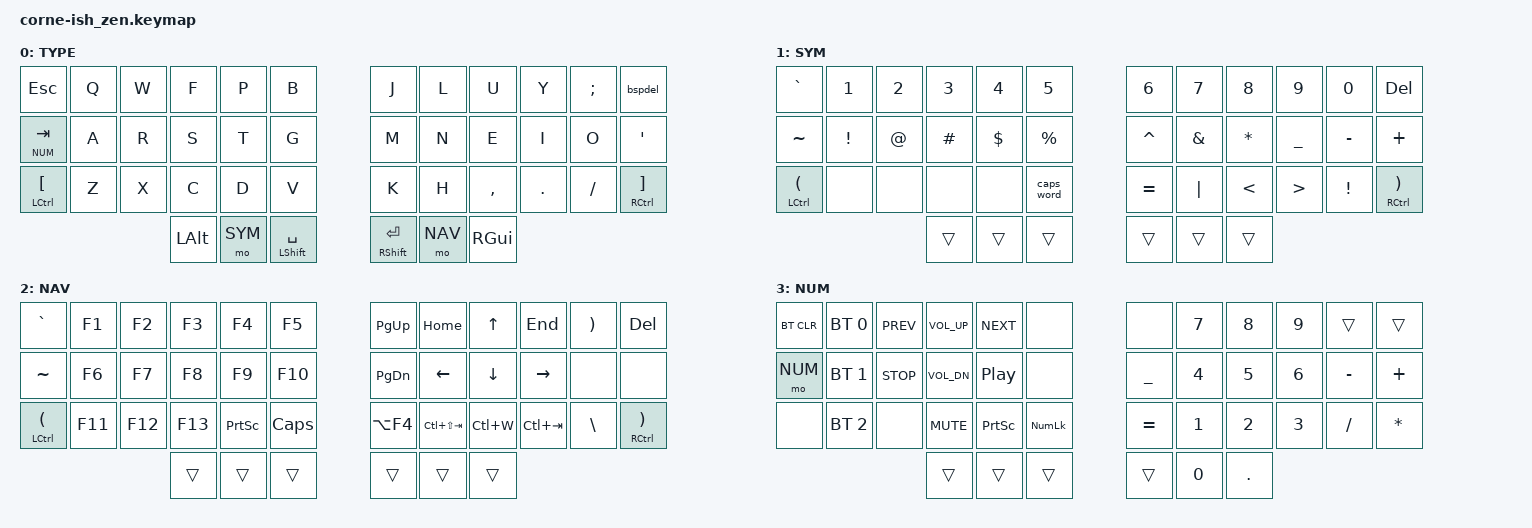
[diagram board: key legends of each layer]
/*
*
* Copyright (c) 2021 Darryl deHaan
* SPDX-License-Identifier: MIT
*
*/

#include <behaviors.dtsi>
#include <dt-bindings/zmk/keys.h>
#include <dt-bindings/zmk/bt.h>

#define TYPE   0
#define SYM    1
#define NAV    2
#define NUM    3

#define CONFIG_ZMK_MACRO_DEFAULT_WAIT_MS 10
#define CONFIG_ZMK_MACRO_DEFAULT_TAP_MS 10

&mt {
    tapping-term-ms = <160>;
    quick-tap-ms = <220>;
};

/ {
        behaviors {
          bspdel: backspace_del {
              compatible = "zmk,behavior-mod-morph";
              label = "BACKSPACE_DEL";
              #binding-cells = <0>;
              bindings = <&kp BACKSPACE>, <&kp DEL>;
              mods = <(MOD_LSFT|MOD_RSFT)>;
          };

          shspc: shift_space {
              compatible = "zmk,behavior-hold-tap";
              label = "SHIFT_SPACE";
              #binding-cells = <2>;
              tapping-term-ms = <140>;
              quick-tap-ms = <200>;
              flavor = "tap-preferred";
              bindings = <&kp>, <&kp>;
          };

          shent: shift_enter {
              compatible = "zmk,behavior-hold-tap";
              label = "SHIFT_ENTER";
              #binding-cells = <2>;
              tapping-term-ms = <120>;
              quick-tap-ms = <200>;
              flavor = "balanced";
              bindings = <&kp>, <&kp>;
          };
        };

        keymap {
                compatible = "zmk,keymap";

                default_layer {
                        label = "TYPE";
                        bindings = <
   &kp ESC        &kp Q &kp W &kp F &kp P &kp B   &kp J &kp L  &kp U     &kp Y   &kp SEMI &bspdel
   &lt NUM TAB    &kp A &kp R &kp S &kp T &kp G   &kp M &kp N  &kp E     &kp I   &kp O    &kp SQT
   &mt LCTRL LBKT &kp Z &kp X &kp C &kp D &kp V   &kp K &kp H  &kp COMMA &kp DOT &kp FSLH &mt RCTRL RBKT
                &kp LALT &mo SYM &shspc LSHIFT SPACE   &shent RSHIFT RET &mo NAV &kp RGUI
                        >;
                };

                sym_layer {
                        label = "SYM";
                        bindings = <
   &kp GRAVE        &kp N1   &kp N2  &kp N3    &kp N4     &kp N5       &kp N6    &kp N7   &kp N8    &kp N9    &kp N0    &kp DEL
   &kp TILDE        &kp EXCL &kp AT  &kp HASH  &kp DLLR   &kp PRCNT    &kp CARET &kp AMPS &kp ASTRK &kp UNDER &kp MINUS &kp PLUS
   &mt LCTRL LPAR   &none    &none   &none     &none      &caps_word   &kp EQUAL &kp PIPE &kp LT    &kp GT    &kp EXCL  &mt RCTRL RPAR
                          	         &trans     &trans   &trans        &trans  &trans   &trans
                        >;
                };

                nav_layer {
                        label = "NAV";
                        bindings = <
   &kp GRAVE       &kp F1  &kp F2  &kp F3  &kp F4    &kp F5       &kp PG_UP  &kp HOME        &kp UP    &kp END     &kp RPAR &kp DEL
   &kp TILDE       &kp F6  &kp F7  &kp F8  &kp F9    &kp F10      &kp PG_DN  &kp LEFT        &kp DOWN  &kp RIGHT   &none    &none
   &mt LCTRL LPAR  &kp F11 &kp F12 &kp F13 &kp PSCRN &kp CAPS     &kp LA(F4) &kp LC(LS(TAB)) &kp LC(W) &kp LC(TAB) &kp BSLH &mt RCTRL RPAR
                          	      &trans     &trans   &trans       &trans  &trans   &trans
                        >;
                };

                num_layer {
                        label = "NUM";
                        bindings = <
   &bt BT_CLR &bt BT_SEL 0 &kp C_PREV  &kp C_VOL_UP &kp C_NEXT  &none              &none     &kp N7  &kp N8  &kp N9  &trans    &trans
   &mo NUM    &bt BT_SEL 1 &kp C_STOP  &kp C_VOL_DN &kp C_PP    &none              &kp UNDER &kp N4  &kp N5  &kp N6  &kp MINUS &kp PLUS
   &none      &bt BT_SEL 2 &none       &kp C_MUTE   &kp PSCRN   &kp KP_NUM         &kp EQUAL &kp N1  &kp N2  &kp N3  &kp FSLH  &kp ASTRK
                          	                     &trans     &trans    &trans      &trans    &kp N0   &kp DOT
                        >;
                };
        };
};
